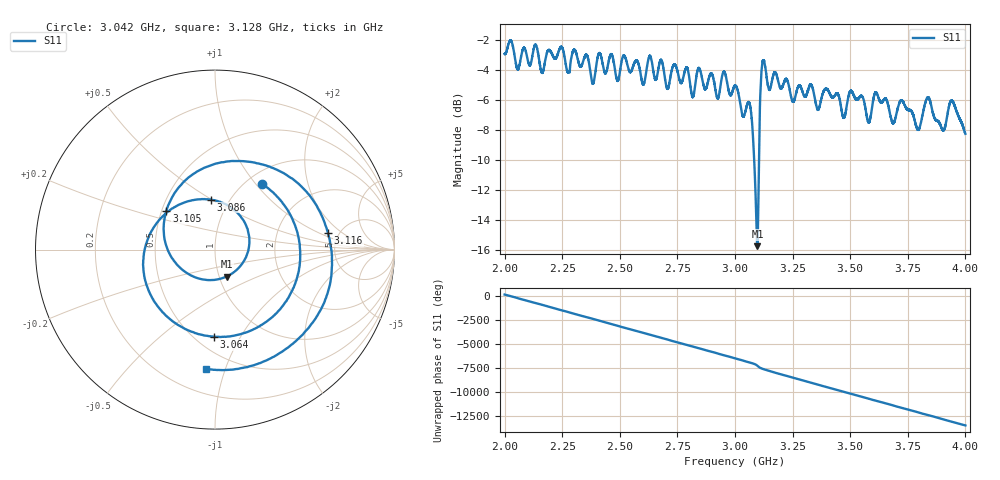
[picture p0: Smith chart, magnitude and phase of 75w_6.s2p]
!Agilent Technologies,E8362B,MY43021131,A.07.50.67
!Agilent E8362B: A.07.50.67
!Date: Thursday, March 14, 2024 14:47:36
!Correction: S11(Off)
!S21(Off)
!S12(Off)
!S22(Off)
!S2P File: Measurements: S11, S21, S12, S22:
# Hz S  RI  R 50
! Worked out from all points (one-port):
!   20001 points, 2 GHz to 4 GHz, reference 50 ohm
!   lowest |S11| = -15.7 dB at 3.097 GHz (marker M1), VSWR 1.39, Z = 54.3 - j16.7 ohm
!   |S11| at or under -10 dB: 3.083 GHz to 3.104 GHz (20.56 MHz wide, 0.665 % of centre)
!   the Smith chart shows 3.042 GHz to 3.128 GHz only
!   S11 on the Smith chart (normalised r, x): 3.042 GHz: 1.17, +1.08; 3.064 GHz: 0.61, -0.78; 3.086 GHz: 0.82, +0.49; 3.105 GHz: 0.53, +0.26; 3.116 GHz: 4.10, +1.25; 3.128 GHz: 0.36, -0.86
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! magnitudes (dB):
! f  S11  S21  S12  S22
! 2 GHz  -2.9  -  -  -
! 2.333 GHz  -3.7  -  -  -
! 2.667 GHz  -4.0  -  -  -
! 3 GHz  -5.0  -  -  -
! 3.042 GHz  -6.9  -  -  -
! 3.064 GHz  -6.3  -  -  -
! 3.086 GHz  -11.1  -  -  -
! 3.097 GHz  -15.7  -  -  -
! 3.105 GHz  -9.2  -  -  -
! 3.116 GHz  -3.9  -  -  -
! 3.128 GHz  -3.5  -  -  -
! 3.252 GHz  -6.1  -  -  -
! 3.333 GHz  -5.0  -  -  -
! 3.472 GHz  -7.2  -  -  -
! 3.504 GHz  -5.4  -  -  -
! 3.58 GHz  -7.5  -  -  -
! 3.667 GHz  -6.5  -  -  -
! 3.796 GHz  -8.0  -  -  -
! 3.839 GHz  -5.8  -  -  -
! 3.903 GHz  -8.0  -  -  -
! 3.942 GHz  -6.0  -  -  -
! 4 GHz  -8.2  -  -  -
